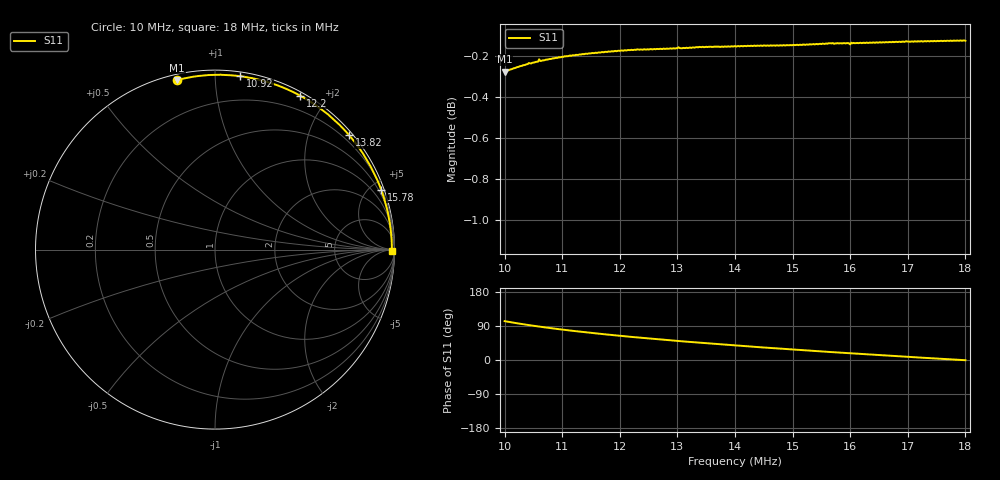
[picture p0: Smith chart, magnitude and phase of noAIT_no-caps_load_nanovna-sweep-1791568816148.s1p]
! NanoVNA Web complex sweep
! Processing: original sample grid, no browser smoothing
# Hz S RI R 50
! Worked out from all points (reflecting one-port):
!   401 points, 10 MHz to 18 MHz, reference 50 ohm
!   lowest |S11| = -0.3 dB at 10 MHz (marker M1), VSWR 62.69, Z = 1.31 + j40.1 ohm
!   phase of S11 starts at 103 deg and turns -103 deg over the sweep
!   S11 on the Smith chart (normalised r, x): 10 MHz: 0.03, +0.80; 10.92 MHz: 0.03, +1.15; 12.2 MHz: 0.04, +1.70; 13.82 MHz: 0.07, +2.71; 15.78 MHz: 0.27, +5.70; 18 MHz: open
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1e7  -0.2108 0.9454
1.004e7  -0.1929 0.9496
1.022e7  -0.1157 0.9641
1.042e7  -0.0359 0.9725
1.064e7  0.0451 0.9733
1.092e7  0.1396 0.966
1.1e7  0.165 0.9626
1.122e7  0.2312 0.9497
1.146e7  0.2982 0.9319
1.172e7  0.3652 0.9084
1.2e7  0.4316 0.8797
1.22e7  0.4756 0.8574
1.258e7  0.5516 0.8109
1.3e7  0.6265 0.7554
1.342e7  0.6921 0.6965
1.382e7  0.7468 0.638
1.4e7  0.7694 0.6111
1.448e7  0.8225 0.5376
1.476e7  0.8494 0.4941
1.5e7  0.8704 0.4569
1.538e7  0.8996 0.3971
1.578e7  0.9256 0.3342
1.6e7  0.9364 0.3003
1.648e7  0.9586 0.2237
1.7e7  0.9746 0.1428
1.75e7  0.983 0.0659
1.796e7  0.9855 -0.00362
1.8e7  0.9854 -0.00964
